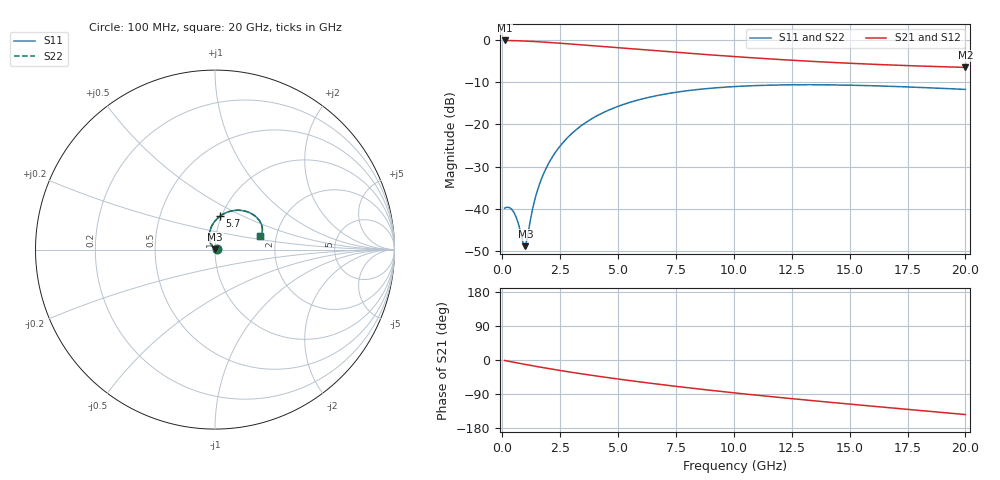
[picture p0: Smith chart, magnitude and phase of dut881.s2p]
! Touchstone file exported from HFSS 2024.1.0
!  File:  C:/UserFiles/LocalFiles/RDL_TSV_Batchsim/temp_RDL_TSV_881_1779929949.aedt
!  Generated:  09:14:05 AM May 28, 2026
!  Design:  RDL_TSV
!  Project:  temp_RDL_TSV_881_1779929949
!  Setup:  Setup1
!  Solution:  Sweep
! Variables:
!  dtsv = 6.04um
!  hbump = 3um
!  htsv = 67.23um
!  ldown = 251.4um
!  lrdl = 322.17um
!  p = 40
!  p1 = 48.09um
!  rhole = 10um
!  subl = 2042.88um
!  t = 450um
!  tdown = 2.7um
!  trdl = 3.44um
!  viad = 10um
!  wdown = 26.02um
!  wrdl = 29.85um
!  xbump = 18um
# GHz S MA R 50.000000
! Terminal data exported
! Port[1] = TM1_1_T1
! Port[2] = TM1_4_T1
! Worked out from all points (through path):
!   200 points, 100 MHz to 20 GHz, reference 50 ohm
!   highest |S21| = -0.09 dB at 100 MHz (marker M1); lowest = -6.5 dB at 20 GHz (marker M2)
!   group delay of S21, straight-line fit = 19.1 ps
!   lowest |S11| = -48.9 dB at 1 GHz (marker M3), VSWR 1.01, Z = 50.1 + j0.348 ohm
!   |S11| at or under -10 dB: start of sweep to end of sweep
!   |S22| runs from -48.9 to -10.6 dB; largest |S21 - S12| = 1.8e-14
!   S11 on the Smith chart (normalised r, x): 100 MHz: 1.02, +0.00; 5.7 GHz: 0.99, +0.38; 20 GHz: 1.63, +0.27
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0.1  0.01018 3.9  0.9896 -1.2  0.9896 -1.2  0.01018 3.9
! Gamma 0 0 0 0
! Port Impedance 50 0 50 0
0.3  0.01036 5.9  0.9872 -3.6  0.9872 -3.6  0.01036 5.9
0.5  0.009074 6.1  0.9841 -6.0  0.9841 -6.0  0.009077 6.1
0.7  0.006583 11.7  0.9803 -8.3  0.9803 -8.3  0.006588 11.7
0.9  0.00388 40.7  0.9757 -10.6  0.9757 -10.6  0.003881 40.5
1  0.0036 74.9  0.9731 -11.8  0.9731 -11.8  0.003592 74.7
1.1  0.004823 104.3  0.9703 -12.9  0.9703 -12.9  0.004806 104.2
1.3  0.009704 126.0  0.9642 -15.1  0.9642 -15.1  0.009678 126.0
1.4  0.0127 129.2  0.9609 -16.2  0.9609 -16.2  0.01267 129.2
1.6  0.01933 131.0  0.9539 -18.4  0.9539 -18.4  0.01929 131.0
1.9  0.03048 129.2  0.9425 -21.6  0.9425 -21.6  0.03043 129.2
2.2  0.04267 125.7  0.9303 -24.7  0.9303 -24.7  0.04261 125.7
2.6  0.05998 120.1  0.9134 -28.7  0.9134 -28.7  0.05991 120.2
3.5  0.1005 107.4  0.8746 -37.2  0.8746 -37.2  0.1004 107.4
4.5  0.1439 94.5  0.8321 -46.0  0.8321 -46.0  0.1437 94.5
5.7  0.1892 81.1  0.7837 -55.9  0.7837 -55.9  0.1891 81.2
6.8  0.2229 70.7  0.7419 -64.4  0.7419 -64.4  0.2227 70.7
8.3  0.2568 58.6  0.6897 -75.2  0.6897 -75.2  0.2567 58.7
10.1  0.2818 46.9  0.6351 -87.2  0.6351 -87.2  0.2817 47.0
13.4  0.2954 31.3  0.5585 -107.3  0.5585 -107.3  0.2952 31.4
16.7  0.2834 21.6  0.5074 -125.9  0.5074 -125.9  0.2831 21.6
20  0.2601 17.2  0.4744 -144.0  0.4744 -144.0  0.2598 17.2
